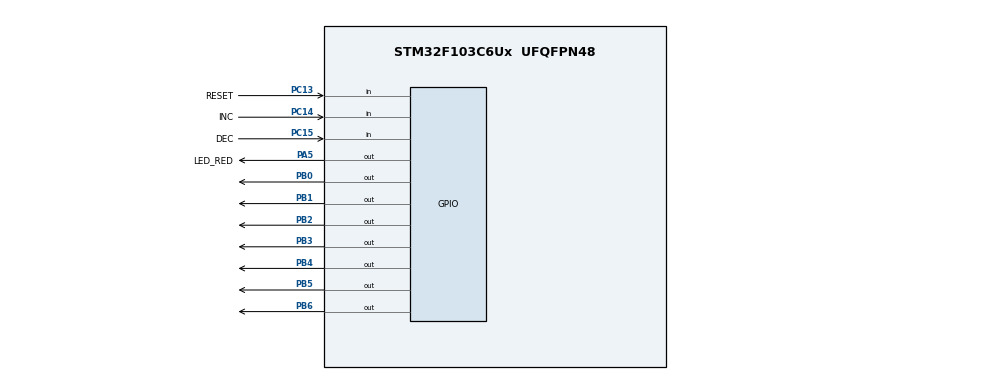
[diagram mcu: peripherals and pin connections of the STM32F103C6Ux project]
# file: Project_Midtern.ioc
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Mcu.Family=STM32F1
Mcu.Name=STM32F103C6Ux
Mcu.Package=UFQFPN48
NVIC.PriorityGroup=NVIC_PRIORITYGROUP_4
NVIC.TIM2_IRQn=true\:0\:0\:false\:false\:true\:true\:true
PA5.GPIO_Label=LED_RED
PA5.Signal=GPIO_Output
PB0.Signal=GPIO_Output
PB1.Signal=GPIO_Output
PB2.Signal=GPIO_Output
PB3.Signal=GPIO_Output
PB4.Signal=GPIO_Output
PB5.Signal=GPIO_Output
PB6.Signal=GPIO_Output
PC13-TAMPER-RTC.GPIO_Label=RESET
PC13-TAMPER-RTC.GPIO_PuPd=GPIO_PULLUP
PC13-TAMPER-RTC.Signal=GPIO_Input
PC14-OSC32_IN.GPIO_Label=INC
PC14-OSC32_IN.GPIO_PuPd=GPIO_PULLUP
PC14-OSC32_IN.Signal=GPIO_Input
PC15-OSC32_OUT.GPIO_Label=DEC
PC15-OSC32_OUT.GPIO_PuPd=GPIO_PULLUP
PC15-OSC32_OUT.Signal=GPIO_Input
ProjectManager.HeapSize=0x200
ProjectManager.StackSize=0x400
ProjectManager.TargetToolchain=STM32CubeIDE
RCC.APB1Freq_Value=8000000
RCC.APB2Freq_Value=8000000
TIM2.Period=9
TIM2.Prescaler=7999
VP_SYS_VS_ND.Mode=No_Debug
VP_TIM2_VS_ClockSourceINT.Mode=Internal
board=custom

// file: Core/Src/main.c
/* USER CODE BEGIN Header */
/**
  ******************************************************************************
  * @file           : main.c
  * @brief          : Main program body
  ******************************************************************************
  * @attention
  *
  * <h2><center>&copy; Copyright (c) 2022 STMicroelectronics.
  * All rights reserved.</center></h2>
  *
  * This software component is licensed by ST under BSD 3-Clause license,
  * the "License"; You may not use this file except in compliance with the
  * License. You may obtain a copy of the License at:
  *                        opensource.org/licenses/BSD-3-Clause
  *
  ******************************************************************************
  */
/* USER CODE END Header */

/* USER CODE BEGIN Includes */
#include "main.h"
#include "button.h"
#include "software_timer.h"
#include "global.h"
#include "fsm_simple_buttons_run.h"
/* USER CODE END Includes */

TIM_HandleTypeDef htim2;

void SystemClock_Config(void);
static void MX_GPIO_Init(void);
static void MX_TIM2_Init(void);

int main(void)
{

  /* MCU Configuration--------------------------------------------------------*/

  /* Reset of all peripherals, Initializes the Flash interface and the Systick. */
  HAL_Init();

  /* Configure the system clock */
  SystemClock_Config();

  /* Initialize all configured peripherals */
  MX_GPIO_Init();
  MX_TIM2_Init();
  /* USER CODE BEGIN 2 */
  HAL_TIM_Base_Start_IT(&htim2);
  /* USER CODE END 2 */

  /* Infinite loop */
  /* USER CODE BEGIN WHILE */
  void display7SEG ( int num ) {
  	char led7seg[10] = { 0x40, 0x79, 0x24, 0x30, 0x19, 0x92, 0x02, 0x78,
  	  				0x0, 0x10 };
  	  		for (int i = 0; i < 7; i++) {
  	  			HAL_GPIO_WritePin(GPIOB, GPIO_PIN_0 << i, (led7seg[num] >> i) & 1);
  	  		}
   }
//int COUNTER = 0;
  while (1)
  {

	  fsm_simple_buttons_run();
	  display7SEG(COUNTER);
    /* USER CODE END WHILE */

  }
}

void SystemClock_Config(void)
{
  RCC_OscInitTypeDef RCC_OscInitStruct = {0};
  RCC_ClkInitTypeDef RCC_ClkInitStruct = {0};

  /** Initializes the RCC Oscillators according to the specified parameters
  * in the RCC_OscInitTypeDef structure.
  */
  RCC_OscInitStruct.OscillatorType = RCC_OSCILLATORTYPE_HSI;
  RCC_OscInitStruct.HSIState = RCC_HSI_ON;
  RCC_OscInitStruct.HSICalibrationValue = RCC_HSICALIBRATION_DEFAULT;
  RCC_OscInitStruct.PLL.PLLState = RCC_PLL_NONE;
  if (HAL_RCC_OscConfig(&RCC_OscInitStruct) != HAL_OK)
  {
    Error_Handler();
  }
  /** Initializes the CPU, AHB and APB buses clocks
  */
  RCC_ClkInitStruct.ClockType = RCC_CLOCKTYPE_HCLK|RCC_CLOCKTYPE_SYSCLK
                              |RCC_CLOCKTYPE_PCLK1|RCC_CLOCKTYPE_PCLK2;
  RCC_ClkInitStruct.SYSCLKSource = RCC_SYSCLKSOURCE_HSI;
  RCC_ClkInitStruct.AHBCLKDivider = RCC_SYSCLK_DIV1;
  RCC_ClkInitStruct.APB1CLKDivider = RCC_HCLK_DIV1;
  RCC_ClkInitStruct.APB2CLKDivider = RCC_HCLK_DIV1;

  if (HAL_RCC_ClockConfig(&RCC_ClkInitStruct, FLASH_LATENCY_0) != HAL_OK)
  {
    Error_Handler();
  }
}

static void MX_TIM2_Init(void)
{

  TIM_ClockConfigTypeDef sClockSourceConfig = {0};
  TIM_MasterConfigTypeDef sMasterConfig = {0};

  htim2.Instance = TIM2;
  htim2.Init.Prescaler = 7999;
  htim2.Init.CounterMode = TIM_COUNTERMODE_UP;
  htim2.Init.Period = 9;
  htim2.Init.ClockDivision = TIM_CLOCKDIVISION_DIV1;
  htim2.Init.AutoReloadPreload = TIM_AUTORELOAD_PRELOAD_DISABLE;
  if (HAL_TIM_Base_Init(&htim2) != HAL_OK)
  {
    Error_Handler();
  }
  sClockSourceConfig.ClockSource = TIM_CLOCKSOURCE_INTERNAL;
  if (HAL_TIM_ConfigClockSource(&htim2, &sClockSourceConfig) != HAL_OK)
  {
    Error_Handler();
  }
  sMasterConfig.MasterOutputTrigger = TIM_TRGO_RESET;
  sMasterConfig.MasterSlaveMode = TIM_MASTERSLAVEMODE_DISABLE;
  if (HAL_TIMEx_MasterConfigSynchronization(&htim2, &sMasterConfig) != HAL_OK)
  {
    Error_Handler();
  }

}

static void MX_GPIO_Init(void)
{
  GPIO_InitTypeDef GPIO_InitStruct = {0};

  /* GPIO Ports Clock Enable */
  __HAL_RCC_GPIOC_CLK_ENABLE();
  __HAL_RCC_GPIOA_CLK_ENABLE();
  __HAL_RCC_GPIOB_CLK_ENABLE();

  /*Configure GPIO pin Output Level */
  HAL_GPIO_WritePin(LED_RED_GPIO_Port, LED_RED_Pin, GPIO_PIN_RESET);

  /*Configure GPIO pin Output Level */
  HAL_GPIO_WritePin(GPIOB, GPIO_PIN_0|GPIO_PIN_1|GPIO_PIN_2|GPIO_PIN_3
                          |GPIO_PIN_4|GPIO_PIN_5|GPIO_PIN_6, GPIO_PIN_RESET);

  /*Configure GPIO pins : RESET_Pin INC_Pin DEC_Pin */
  GPIO_InitStruct.Pin = RESET_Pin|INC_Pin|DEC_Pin;
  GPIO_InitStruct.Mode = GPIO_MODE_INPUT;
  GPIO_InitStruct.Pull = GPIO_PULLUP;
  HAL_GPIO_Init(GPIOC, &GPIO_InitStruct);

  /*Configure GPIO pin : LED_RED_Pin */
  GPIO_InitStruct.Pin = LED_RED_Pin;
  GPIO_InitStruct.Mode = GPIO_MODE_OUTPUT_PP;
  GPIO_InitStruct.Pull = GPIO_NOPULL;
  GPIO_InitStruct.Speed = GPIO_SPEED_FREQ_LOW;
  HAL_GPIO_Init(LED_RED_GPIO_Port, &GPIO_InitStruct);

  /*Configure GPIO pins : PB0 PB1 PB2 PB3
                           PB4 PB5 PB6 */
  GPIO_InitStruct.Pin = GPIO_PIN_0|GPIO_PIN_1|GPIO_PIN_2|GPIO_PIN_3
                          |GPIO_PIN_4|GPIO_PIN_5|GPIO_PIN_6;
  GPIO_InitStruct.Mode = GPIO_MODE_OUTPUT_PP;
  GPIO_InitStruct.Pull = GPIO_NOPULL;
  GPIO_InitStruct.Speed = GPIO_SPEED_FREQ_LOW;
  HAL_GPIO_Init(GPIOB, &GPIO_InitStruct);

}

/* USER CODE BEGIN 4 */
int count = 0;

void HAL_TIM_PeriodElapsedCallback(TIM_HandleTypeDef *htim){
//	Led Blinky for Debugging //
if(count >=100){
	HAL_GPIO_TogglePin(LED_RED_GPIO_Port, LED_RED_Pin);
	count = 0;
}
count++;

		getKey1Input();
		getKey2Input();
		getKey3Input();
		timerRun();
}

/* USER CODE END 4 */

void Error_Handler(void)
{
  __disable_irq();
  while (1)
  {
  }
}

/************************ (C) COPYRIGHT STMicroelectronics *****END OF FILE****/
